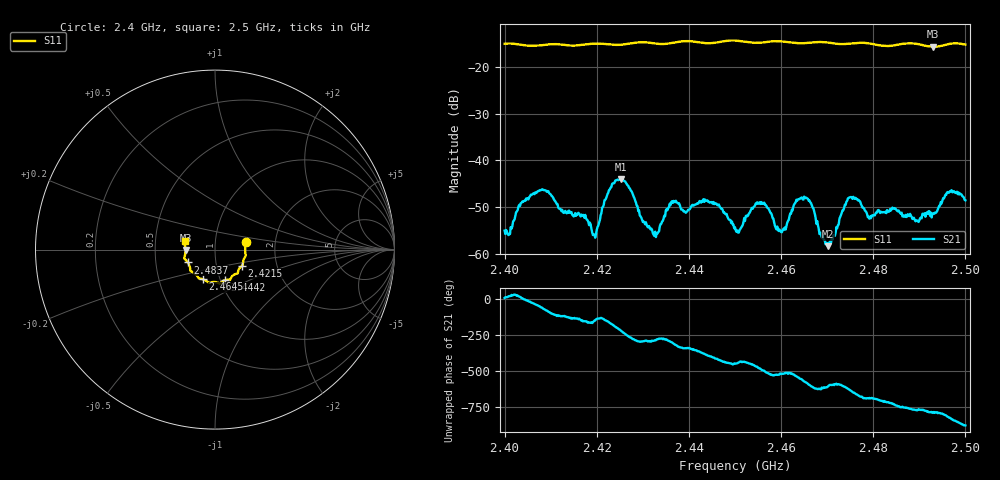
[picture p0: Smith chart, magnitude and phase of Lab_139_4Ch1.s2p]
# Hz S RI R 50
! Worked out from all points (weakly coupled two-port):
!   601 points, 2.4 GHz to 2.5 GHz, reference 50 ohm
!   highest |S21| = -44.00 dB at 2.4252 GHz (marker M1); lowest = -58.3 dB at 2.4702 GHz (marker M2)
!   lowest |S11| = -15.7 dB at 2.493 GHz (marker M3), VSWR 1.39, Z = 35.9 - j0.229 ohm
!   |S11| at or under -10 dB: start of sweep to end of sweep
!   S12 and S22 are empty: the file has one direction only
!   S11 on the Smith chart (normalised r, x): 2.4 GHz: 1.41, +0.12; 2.4215 GHz: 1.33, -0.25; 2.4442 GHz: 1.05, -0.37; 2.4645 GHz: 0.83, -0.29; 2.4837 GHz: 0.73, -0.11; 2.5 GHz: 0.71, +0.07
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2.4e9  0.1714 0.0402  0.00177 0.000162  0 0  0 0
2.407833e9  0.1683 -0.0193  0.00243 -0.00416  0 0  0 0
2.416667e9  0.1567 -0.0699  -0.00233 -0.00125  0 0  0 0
2.4195e9  0.1548 -0.0852  -0.00141 -0.000763  0 0  0 0
2.4215e9  0.1511 -0.0896  -0.00259 -0.00209  0 0  0 0
2.425167e9  0.1332 -0.1084  -0.00478 0.00411  0 0  0 0
2.433333e9  0.1083 -0.1385  0.00032 0.00168  0 0  0 0
2.436333e9  0.0906 -0.1553  0.00206 0.00304  0 0  0 0
2.444167e9  0.0565 -0.1693  0.0029 -0.00217  0 0  0 0
2.45e9  0.0252 -0.1891  -2.88e-05 -0.00194  0 0  0 0
2.455833e9  -0.015 -0.1809  -0.00244 -0.00242  0 0  0 0
2.4605e9  -0.0376 -0.1823  -0.00177 -0.000598  0 0  0 0
2.4645e9  -0.0658 -0.1659  -0.00376 0.00144  0 0  0 0
2.466667e9  -0.0827 -0.162  -0.00112 0.00312  0 0  0 0
2.470167e9  -0.094 -0.1553  -0.000429 0.00114  0 0  0 0
2.474833e9  -0.1217 -0.1275  0.000237 0.00402  0 0  0 0
2.479333e9  -0.1384 -0.1102  0.00224 0.00116  0 0  0 0
2.483333e9  -0.149 -0.0749  0.00283 4.41e-05  0 0  0 0
2.483667e9  -0.1511 -0.0715  0.00302 -0.000255  0 0  0 0
2.493e9  -0.1635 -0.0031  0.000936 -0.00253  0 0  0 0
2.4965e9  -0.1725 0.0327  -0.00133 -0.00436  0 0  0 0
2.5e9  -0.165 0.0505  -0.00354 -0.00125  0 0  0 0
